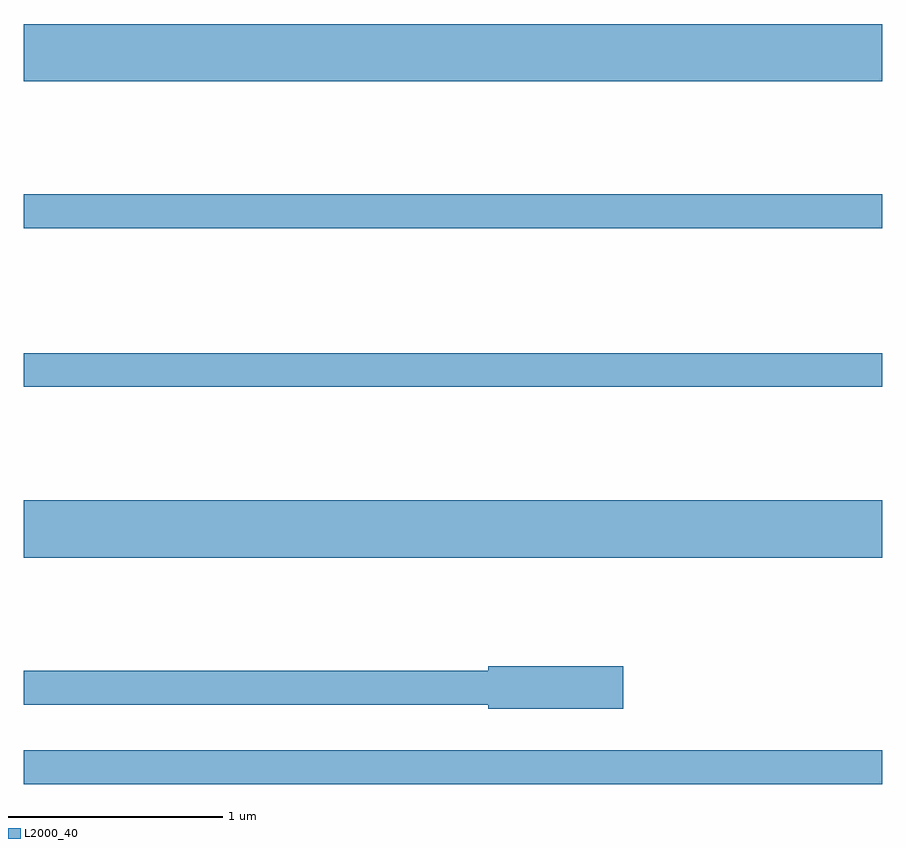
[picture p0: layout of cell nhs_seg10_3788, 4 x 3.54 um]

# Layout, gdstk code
import gdstk
lib = gdstk.Library(unit=1e-6, precision=1e-09)
def R(c, l, rs):  # rectangles x0, y0, x1, y1
    for r in rs: c.add(gdstk.rectangle(r[:2], r[2:], *l))
def P(c, l, *ps):  # polygons
    for p in ps: c.add(gdstk.Polygon(p, *l))
L2000_40 = (2000, 40)

nhs_seg10_3788 = lib.new_cell('nhs_seg10_3788')
R(nhs_seg10_3788, L2000_40, [(295.611,2214.981,299.611,2215.139), (295.611,2216.036,299.611,2216.304), (295.611,2216.831,299.611,2216.989), (295.611,2217.571,299.611,2217.729), (295.611,2218.256,299.611,2218.522)])
P(nhs_seg10_3788, L2000_40, [(298.404,2215.529),(297.776,2215.529),(297.776,2215.509),(295.611,2215.509),(295.611,2215.351),(297.776,2215.351),(297.776,2215.331),(298.404,2215.331)])

lib.write_gds('nhs_seg10_3788.gds')
